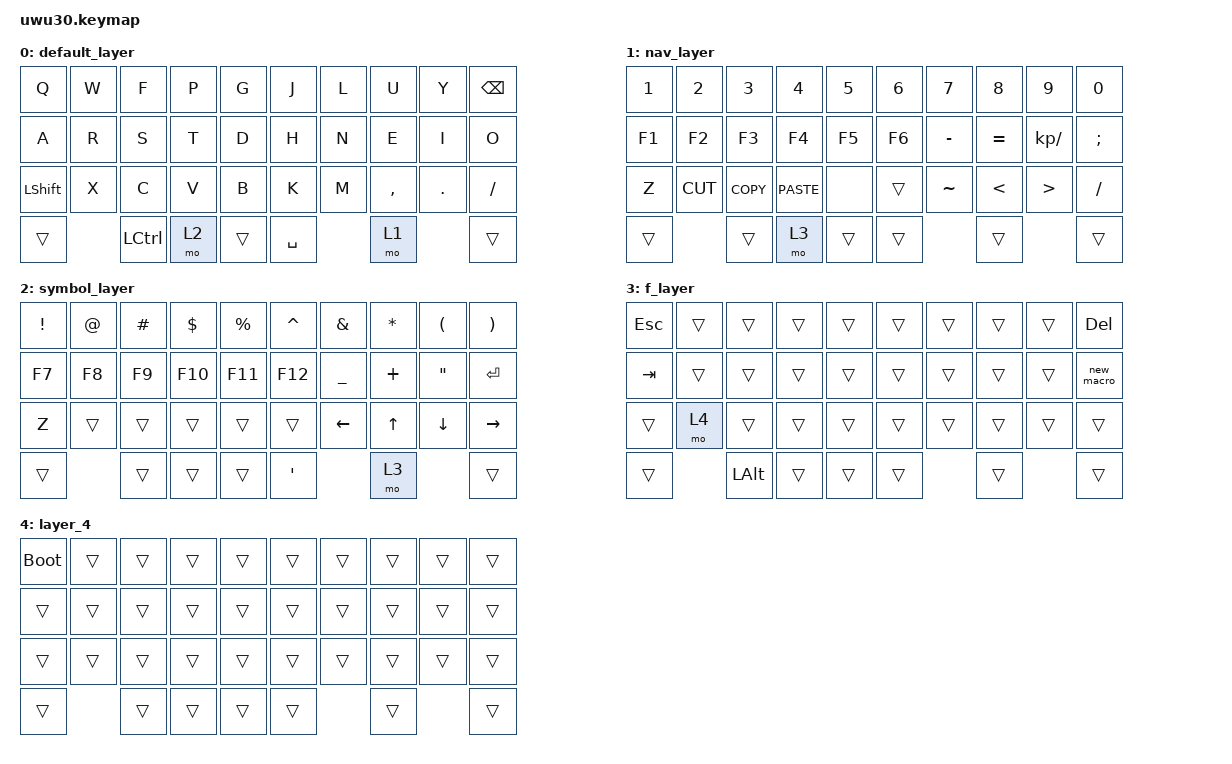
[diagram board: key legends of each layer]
/*
 * Copyright (c) 2023 The ZMK Contributors
 *
 * SPDX-License-Identifier: MIT
 */

#include <behaviors.dtsi>
#include <dt-bindings/zmk/keys.h>

/ {
    combos {
        compatible = "zmk,combos";

        combo_mo1 {
            timeout-ms = <100>;
            key-positions = <1 2>;
            bindings = <&mo 1>;
        };

        combo_mo2 {
            timeout-ms = <100>;
            key-positions = <28 29>;
            bindings = <&mo 2>;
        };
    };
};

&mt { tapping-term-ms = <400>; };

/ {
    macros {
        new_macro: new_macro {
            compatible = "zmk,behavior-macro";
            #binding-cells = <0>;
            bindings = <&none &kp DQT &kp COLON &kp COLON &kp RET &kp LPAR &kp SPACE &kp CARET &kp CARET &kp SPACE &kp RPAR &kp DQT>;
            label = "NEW_MACRO";
        };
    };

    keymap {
        compatible = "zmk,keymap";

        default_layer {
            bindings = <
&kp Q           &kp W  &kp F             &kp P  &kp G   &kp J      &kp L  &kp U      &kp Y       &kp BACKSPACE
&kp A           &kp R  &kp S             &kp T  &kp D   &kp H      &kp N  &kp E      &kp I       &kp O
&kp LEFT_SHIFT  &kp X  &kp C             &kp V  &kp B   &kp K      &kp M  &kp COMMA  &kp PERIOD  &kp SLASH
&trans                 &kp LEFT_CONTROL  &mo 2  &trans  &kp SPACE         &mo 1                  &trans
            >;
        };

        nav_layer {
            bindings = <
&kp NUMBER_1  &kp NUMBER_2  &kp NUMBER_3  &kp NUMBER_4  &kp N5  &kp NUMBER_6  &kp N7     &kp N8         &kp N9            &kp N0
&kp F1        &kp F2        &kp F3        &kp F4        &kp F5  &kp F6        &kp MINUS  &kp EQUAL      &kp KP_DIVIDE     &kp SEMICOLON
&kp Z         &kp K_CUT     &kp K_COPY    &kp K_PASTE   &none   &trans        &kp TILDE  &kp LESS_THAN  &kp GREATER_THAN  &kp SLASH
&trans                      &trans        &mo 3         &trans  &trans                   &trans                           &trans
            >;
        };

        symbol_layer {
            bindings = <
&kp EXCLAMATION  &kp AT_SIGN  &kp HASH  &kp DOLLAR  &kp PERCENT  &kp CARET       &kp AMPERSAND   &kp ASTERISK  &kp LEFT_PARENTHESIS  &kp RIGHT_PARENTHESIS
&kp F7           &kp F8       &kp F9    &kp F10     &kp F11      &kp F12         &kp UNDERSCORE  &kp PLUS      &kp DOUBLE_QUOTES     &kp ENTER
&kp Z            &trans       &trans    &trans      &trans       &trans          &kp LEFT        &kp UP_ARROW  &kp DOWN              &kp RIGHT
&trans                        &trans    &trans      &trans       &kp APOSTROPHE                  &mo 3                               &trans
            >;
        };

        f_layer {
            bindings = <
&kp ESCAPE  &trans  &trans        &trans  &trans  &trans  &trans  &trans  &trans  &kp DELETE
&kp TAB     &trans  &trans        &trans  &trans  &trans  &trans  &trans  &trans  &new_macro
&trans      &mo 4   &trans        &trans  &trans  &trans  &trans  &trans  &trans  &trans
&trans              &kp LEFT_ALT  &trans  &trans  &trans          &trans          &trans
            >;
        };

        layer_4 {
            bindings = <
&bootloader  &trans  &trans  &trans  &trans  &trans  &trans  &trans  &trans  &trans
&trans       &trans  &trans  &trans  &trans  &trans  &trans  &trans  &trans  &trans
&trans       &trans  &trans  &trans  &trans  &trans  &trans  &trans  &trans  &trans
&trans               &trans  &trans  &trans  &trans          &trans          &trans
            >;
        };
    };
};
